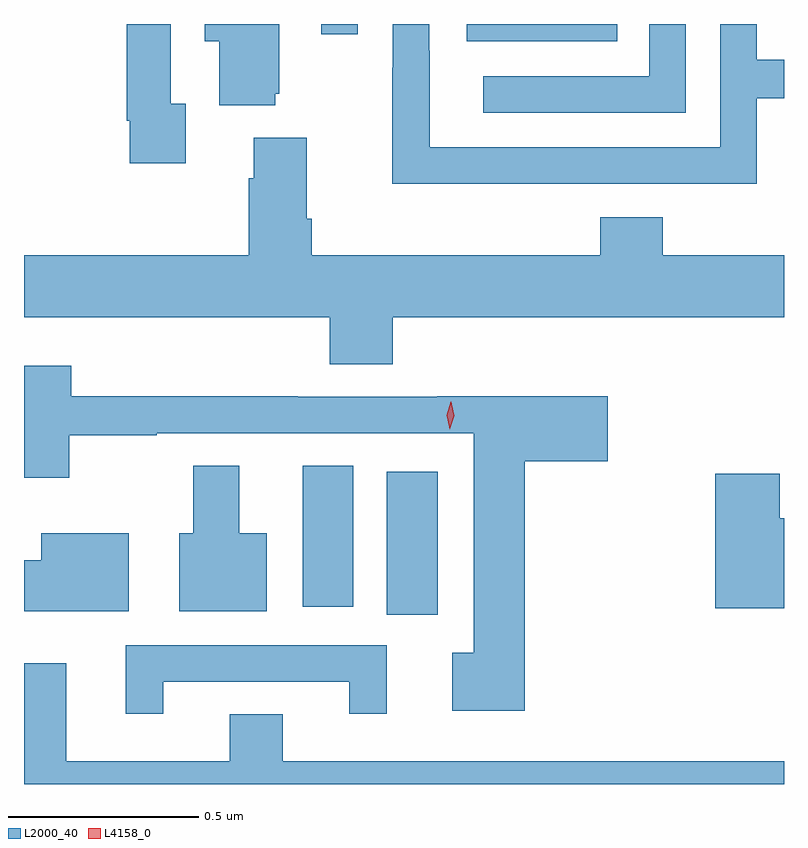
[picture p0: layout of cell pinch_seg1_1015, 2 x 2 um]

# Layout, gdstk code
import gdstk
lib = gdstk.Library(unit=1e-6, precision=1e-09)
def R(c, l, rs):  # rectangles x0, y0, x1, y1
    for r in rs: c.add(gdstk.rectangle(r[:2], r[2:], *l))
def P(c, l, *ps):  # polygons
    for p in ps: c.add(gdstk.Polygon(p, *l))
L2000_40 = (2000, 40)
L4158_0 = (4158, 0)

pinch_seg1_1015 = lib.new_cell('pinch_seg1_1015')
R(pinch_seg1_1015, L2000_40, [(255.488,577.59,255.622,577.966), (255.266,577.611,255.4,577.982), (255.698,579.098,256.094,579.144), (255.315,579.117,255.411,579.144)])
P(pinch_seg1_1015, L2000_40, [(254.959,578.934),(254.919,578.934),(254.919,579.144),(254.803,579.144),(254.803,578.89),(254.811,578.89),(254.811,578.778),(254.959,578.778)],
  [(256.275,579.144),(256.179,579.144),(256.179,579.006),(255.741,579.006),(255.741,578.91),(256.275,578.91)],
  [(255.965,578.724),(256.461,578.724),(256.461,578.949),(256.533,578.949),(256.533,579.05),(256.461,579.05),(256.461,579.144),(256.365,579.144),(256.365,578.82),(255.601,578.82),(255.601,579.074),(255.6,579.074),(255.6,579.144),(255.504,579.144),(255.504,579.029),(255.502,579.029),(255.502,578.723),(255.965,578.723)],
  [(255.194,578.961),(255.205,578.961),(255.205,579.144),(255.008,579.144),(255.008,579.098),(255.047,579.098),(255.047,578.93),(255.194,578.93)],
  [(255.503,578.372),(256.533,578.372),(256.533,578.536),(256.214,578.536),(256.214,578.635),(256.049,578.635),(256.049,578.536),(255.29,578.536),(255.29,578.632),(255.277,578.632),(255.277,578.845),(255.137,578.845),(255.137,578.738),(255.125,578.738),(255.125,578.536),(254.533,578.536),(254.533,578.372),(255.338,578.372),(255.338,578.248),(255.503,578.248)],
  [(255.851,577.994),(256.069,577.994),(256.069,578.165),(255.62,578.165),(255.62,578.163),(255.254,578.163),(255.254,578.165),(254.657,578.165),(254.657,578.245),(254.533,578.245),(254.533,577.95),(254.652,577.95),(254.652,578.062),(254.882,578.062),(254.882,578.067),(255.716,578.067),(255.716,577.49),(255.66,577.49),(255.66,577.337),(255.851,577.337)],
  [(255.172,577.804),(255.1,577.804),(255.1,577.982),(254.978,577.982),(254.978,577.804),(254.942,577.804),(254.942,577.598),(255.172,577.598)],
  [(256.533,577.843),(256.522,577.843),(256.522,577.96),(256.352,577.96),(256.352,577.607),(256.533,577.607)],
  [(254.809,577.804),(254.579,577.804),(254.579,577.733),(254.533,577.733),(254.533,577.598),(254.809,577.598)],
  [(254.899,577.413),(255.389,577.413),(255.389,577.329),(255.487,577.329),(255.487,577.509),(254.801,577.509),(254.801,577.329),(254.899,577.329)],
  [(256.533,577.204),(255.214,577.204),(255.214,577.328),(255.074,577.328),(255.074,577.204),(254.644,577.204),(254.644,577.462),(254.533,577.462),(254.533,577.144),(256.533,577.144)])
P(pinch_seg1_1015, L4158_0, [(255.653,578.078),(255.645,578.114),(255.656,578.15),(255.657,578.15),(255.657,578.15),(255.665,578.113),(255.654,578.078),(255.654,578.078)])

lib.write_gds('pinch_seg1_1015.gds')
